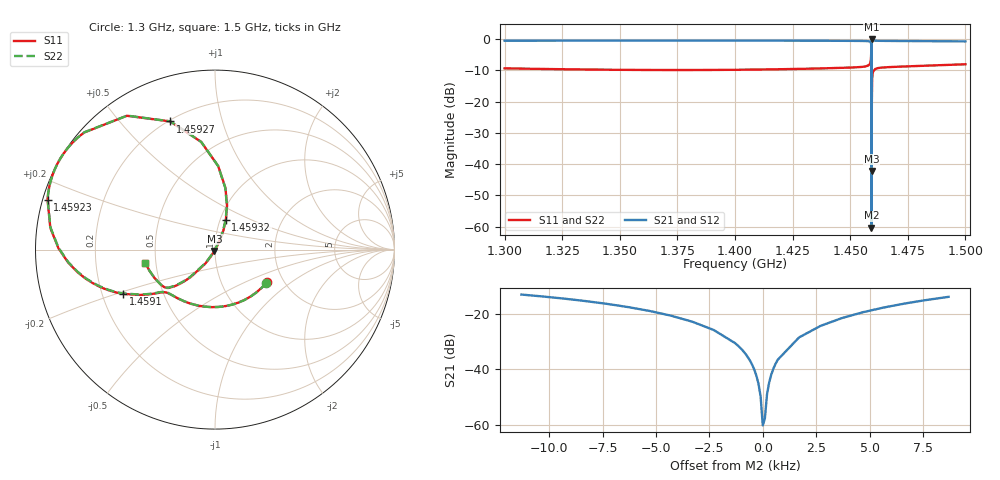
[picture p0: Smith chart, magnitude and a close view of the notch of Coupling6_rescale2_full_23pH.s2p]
! Sonnet Data File
! From: emclient Version : 13.56
! From Project: Coupling6_rescale2_full_23pH
! Data is De-embedded
! Data File Written: 06/26/2014 14:05:29
!< HDATE 06/18/2014 12:50:38
!< MDATE 06/18/2014 13:05:18
# GHZ S RI R 0.159000
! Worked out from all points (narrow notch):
!   120 points, 1.3 GHz to 1.5 GHz, reference 0.159 ohm
!   highest |S21| = 0.00 dB at 1.45936 GHz (marker M1); lowest = -60.3 dB at 1.45924 GHz (marker M2)
!   notch at M2: 59.5 dB deep, 2.71 kHz wide at half that depth
!   lowest |S11| = -42.2 dB at 1.45936 GHz (marker M3), VSWR 1.02, Z = 0.158 - j0.00224 ohm
!   |S11| at or under -10 dB: 1.459303 GHz to 1.460361 GHz (1.058 MHz wide, 0.0725 % of centre)
!   |S22| runs from -42.2 to 0.0 dB; largest |S21 - S12| = 4.1e-12
!   S11 on the Smith chart (normalised r, x): 1.3 GHz: 1.64, -0.67; 1.4591 GHz: 0.29, -0.21; 1.45923 GHz: 0.01, +0.15; 1.45927 GHz: 0.21, +0.69; 1.45932 GHz: 1.06, +0.37; 1.5 GHz: 0.44, -0.08
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1.3  0.2879 -0.1823  0.5063 0.7922  0.5063 0.7922  0.2864 -0.1847
!< P1 F=1.3 Eeff=(81.3489129 0.0) Z0=(0.16150839 0.0) R=0.0 C=-40.791935
!< P2 F=1.3 Eeff=(81.3489129 0.0) Z0=(0.16150839 0.0) R=0.0 C=-40.791935
1.34  0.1643 -0.2804  0.8191 0.4727  0.8191 0.4727  0.1605 -0.2826
1.37  0.0577 -0.3149  0.9332 0.1636  0.9332 0.1636  0.0528 -0.3157
1.4  -0.0547 -0.3183  0.9315 -0.1673  0.9315 -0.1673  -0.0595 -0.3174
1.44  -0.2064 -0.2723  0.746 -0.5716  0.746 -0.5716  -0.2092 -0.2701
1.4591  -0.5117 -0.2466  0.3553 -0.7424  0.3553 -0.7424  -0.513 -0.2439
1.45923  -0.933 0.2781  -0.0656 -0.2188  -0.0656 -0.2188  -0.9321 0.2811
1.459239  -0.8911 0.4508  -0.0236 -0.0464  -0.0236 -0.0464  -0.8898 0.4534
1.459241  -0.8735 0.4866  -0.00598 -0.0107  -0.00598 -0.0107  -0.8722 0.489
1.459241  -0.8703 0.4925  -0.00271 -0.00478  -0.00271 -0.00478  -0.8689 0.495
1.459241  -0.8681 0.4965  -0.000481 -0.000838  -0.000481 -0.000838  -0.8667 0.4989
1.459242  -0.8646 0.5024  0.00295 0.00506  0.00295 0.00506  -0.8632 0.5048
1.459242  -0.8599 0.5102  0.00768 0.0129  0.00768 0.0129  -0.8585 0.5126
1.459246  -0.803 0.5859  0.0647 0.0884  0.0647 0.0884  -0.8014 0.588
1.45927  -0.2502 0.7143  0.617 0.2157  0.617 0.2157  -0.2493 0.7146
1.45932  0.0606 0.1676  0.9265 -0.3315  0.9265 -0.3315  0.0595 0.168
1.45936  -0.00316 -0.00708  0.8623 -0.5063  0.8623 -0.5063  -0.00464 -0.00621
1.45937  -0.0186 -0.0314  0.8468 -0.5307  0.8468 -0.5307  -0.0202 -0.0305
1.4594  -0.0582 -0.0823  0.807 -0.5818  0.807 -0.5818  -0.0597 -0.0812
1.4598  -0.2096 -0.1972  0.6533 -0.7003  0.6533 -0.7003  -0.2112 -0.1954
1.467  -0.2942 -0.2014  0.5255 -0.7725  0.5255 -0.7725  -0.2953 -0.1997
1.5  -0.3891 -0.073  0.1699 -0.9024  0.1699 -0.9024  -0.389 -0.0735
